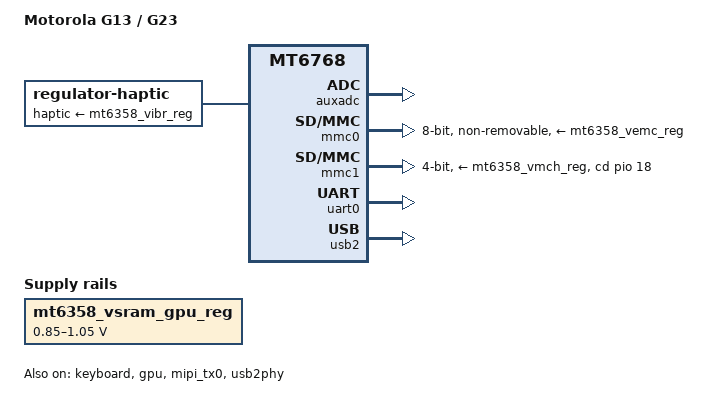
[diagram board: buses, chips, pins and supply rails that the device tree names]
// SPDX-License-Identifier: GPL-2.0-only
/*
 * Device Tree Source for Motorola G13 / G23
 *
 * Copyright (c) 2025 Roger Ortiz
 */

/dts-v1/;

#include <dt-bindings/gpio/gpio.h>
#include <dt-bindings/leds/common.h>
#include <dt-bindings/iio/adc/mediatek,mt6370_adc.h>
#include <dt-bindings/usb/pd.h>

#include "mt6769z.dtsi"
#include "mt6358.dtsi"

/ {
	model = "Motorola G13 / G23";
	compatible = "motorola,penangf", "mediatek,mt6769z", "mediatek,mt6768";

	aliases {
		serial0 = &uart0;
	};

	chosen {
		#address-cells = <2>;
		#size-cells = <2>;
		ranges;

		/*
		 * Framebuffer left running by the bootloader. This is the default
		 * display path: taking the pipeline over with the DSI panel driver
		 * (see mt6769z-motorola-penangf-dsi.dts) does not come up reliably yet.
		 */
		framebuffer0: framebuffer@7b250000 {
			compatible = "simple-framebuffer";
			reg = <0 0x7b250000 0 (736*1600*4)>;
			width = <736>;
			height = <1600>;
			stride = <(736 * 4)>;
			format = "a8r8g8b8";
		};
	};

	/*
	 * No reserved-memory nodes here: the stock bootloader reserves the
	 * framebuffer and pstore regions itself and hangs on purpose if the
	 * device tree already has a node overlapping one of them. ramoops gets
	 * its region from the ramoops.* parameters on the command line instead.
	 */

	/* Downstream: "mediatek,vibrator" with vib_vol = <9>, i.e. VIBR at 2.8 V */
	haptic {
		compatible = "regulator-haptic";
		haptic-supply = <&mt6358_vibr_reg>;
		min-microvolt = <1200000>;
		max-microvolt = <2800000>;
	};
};

/*
 * Volume down. Only KPCOL0 is wired; GPIO92 (KPROW0) is the touch reset here.
 * The controller reports the key as hardware key 1 (the vendor map agrees),
 * which the driver decodes as row 0, column 1.
 */
&keyboard {
	status = "okay";
	pinctrl-names = "default";
	pinctrl-0 = <&keyboard_pins>;
	linux,keymap = <MATRIX_KEY(0x00, 0x01, KEY_VOLUMEDOWN)>;
	keypad,num-rows = <1>;
	keypad,num-columns = <2>;
	debounce-delay-ms = <32>;
};

/* Power is the default; the PMIC "home" key is volume up on this board. */
&mt6358keys {
	home {
		linux,keycodes = <KEY_VOLUMEUP>;
	};
};

&auxadc {
	status = "okay";
};

&thermal {
	status = "okay";
};

&mt6358_vdram2_reg {
	regulator-always-on;
};

/* mt6358_vaud28_reg - audio */
/* mt6358_vbif28_reg - bluetooth? */

&mt6358_vio28_reg {
	regulator-always-on;
};

// I guess
&mt6358_vaux18_reg {
	regulator-always-on;
};

/*
 * No PSCI idle states. Both cpu-sleep and cluster-sleep are MCDI states that
 * the firmware expects to coordinate with a kernel-side MCDI driver; without
 * one, entering either makes USB transfers stall intermittently (the gadget
 * waits forever for a completion, the host times out after 30 s and resets
 * the device) and once produced a context-tracking WARN on idle entry.
 * WFI only is stable.
 */
&cci {
	proc-supply = <&mt6358_vproc12_reg>;
};

&cpu0 {
	/delete-property/ cpu-idle-states;
	proc-supply = <&mt6358_vproc12_reg>;
};

&cpu1 {
	/delete-property/ cpu-idle-states;
	proc-supply = <&mt6358_vproc12_reg>;
};

&cpu2 {
	/delete-property/ cpu-idle-states;
	proc-supply = <&mt6358_vproc12_reg>;
};

&cpu3 {
	/delete-property/ cpu-idle-states;
	proc-supply = <&mt6358_vproc12_reg>;
};

&cpu4 {
	/delete-property/ cpu-idle-states;
	proc-supply = <&mt6358_vproc12_reg>;
};

&cpu5 {
	/delete-property/ cpu-idle-states;
	proc-supply = <&mt6358_vproc12_reg>;
};

&cpu6 {
	/delete-property/ cpu-idle-states;
	proc-supply = <&mt6358_vproc11_reg>;
};

&cpu7 {
	/delete-property/ cpu-idle-states;
	proc-supply = <&mt6358_vproc11_reg>;
};

// For some reason devapc (and others?) make the kernel hang
// at random places and prevents it from booting at all.

/*
 * penangf shipped with four panels (BOE TD4160, Chipone ICNL9916, Ilitek
 * ILI9883A and ILI7807S); the bootloader reports the fitted one in
 * /chosen "atag,videolfb". This describes the BOE TD4160 one; its bias
 * supplies are wired up in mt6769z-motorola-penangf-dsi.dts.
 */
&dsi0 {
	status = "disabled";
	#address-cells = <1>;
	#size-cells = <0>;

	panel: panel@0 {
		compatible = "boe,td4160";
		reg = <0>;
		reset-gpios = <&pio 45 GPIO_ACTIVE_LOW>;

		port {
			panel_in: endpoint {
				remote-endpoint = <&dsi_out>;
			};
		};
	};
};

&dsi_out {
	remote-endpoint = <&panel_in>;
};

/*
 * The OVL keeps reading the bootloader framebuffer by physical address, so
 * with the M4U enabled every read is an IOMMU fault (an interrupt storm).
 */
&iommu {
	status = "disabled";
};

&gpu {
	status = "okay";
	mali-supply = <&mt6358_vgpu_reg>;
};

&mt6358_vgpu_reg {
	regulator-max-microvolt = <950000>;
	regulator-always-on;
	regulator-boot-on;

	regulator-coupled-with = <&mt6358_vsram_gpu_reg>;
	regulator-coupled-max-spread = <100000>;
};

&mt6358_vsram_gpu_reg {
	regulator-min-microvolt = <850000>;
	regulator-max-microvolt = <1050000>;
	regulator-always-on;
	regulator-boot-on;

	regulator-coupled-with = <&mt6358_vgpu_reg>;
	regulator-coupled-max-spread = <100000>;
};

&mipi_tx0 {
	status = "okay";
};

&mmc0 {
	status = "okay";
	pinctrl-names = "default", "state_uhs";
	pinctrl-0 = <&mmc0_default_pins>;
	pinctrl-1 = <&mmc0_uhs_pins>;
	bus-width = <8>;
	max-frequency = <200000000>;
	cap-mmc-highspeed;
	mmc-ddr-1_8v;
	mmc-hs200-1_8v;
	mmc-hs400-1_8v;
	cap-mmc-hw-reset;
	no-sdio;
	no-sd;
	non-removable;
	supports-cqe;
	hs400-ds-delay = <0x12814>;
	vmmc-supply = <&mt6358_vemc_reg>;
	vqmmc-supply = <&mt6358_vio18_reg>;
};

&mmc1 {
	status = "okay";
	pinctrl-names = "default", "state_uhs";
	pinctrl-0 = <&mmc1_default_pins>;
	pinctrl-1 = <&mmc1_uhs_pins>;
	bus-width = <4>;
	max-frequency = <200000000>;
	cap-sd-highspeed;
	sd-uhs-sdr12;
	sd-uhs-sdr25;
	sd-uhs-sdr50;
	sd-uhs-sdr104;
	sd-uhs-ddr50;
	no-mmc;
	no-sdio;
	cd-gpios = <&pio 18 GPIO_ACTIVE_HIGH>;
	vmmc-supply = <&mt6358_vmch_reg>;
	vqmmc-supply = <&mt6358_vmc_reg>;
};

&pio {
	keyboard_pins: keyboard-pins {
		pins {
			pinmux = <PINMUX_GPIO93__FUNC_KPCOL0>;
			bias-pull-up = <MTK_PUPD_SET_R1R0_10>;
			input-enable;
		};
	};

	mmc0_default_pins: mmc0-default-pins {
		pins-clk {
			pinmux = <PINMUX_GPIO124__FUNC_MSDC0_CLK>;
			drive-strength = <MTK_DRIVE_4mA>;
			bias-pull-down = <MTK_PUPD_SET_R1R0_10>;
		};

		pins-cmd-dat {
			pinmux = <PINMUX_GPIO123__FUNC_MSDC0_DAT0>,
				 <PINMUX_GPIO128__FUNC_MSDC0_DAT1>,
				 <PINMUX_GPIO125__FUNC_MSDC0_DAT2>,
				 <PINMUX_GPIO132__FUNC_MSDC0_DAT3>,
				 <PINMUX_GPIO126__FUNC_MSDC0_DAT4>,
				 <PINMUX_GPIO129__FUNC_MSDC0_DAT5>,
				 <PINMUX_GPIO127__FUNC_MSDC0_DAT6>,
				 <PINMUX_GPIO130__FUNC_MSDC0_DAT7>,
				 <PINMUX_GPIO122__FUNC_MSDC0_CMD>;
			input-enable;
			drive-strength = <MTK_DRIVE_4mA>;
			bias-pull-up = <MTK_PUPD_SET_R1R0_01>;
		};

		pins-ds {
			pinmux = <PINMUX_GPIO131__FUNC_MSDC0_DSL>;
			drive-strength = <MTK_DRIVE_4mA>;
		};

		pins-rst {
			pinmux = <PINMUX_GPIO133__FUNC_MSDC0_RSTB>;
			drive-strength = <MTK_DRIVE_6mA>;
			bias-pull-up = <MTK_PUPD_SET_R1R0_01>;
		};
	};

	mmc0_uhs_pins: mmc0-uhs-pins {
		pins-clk {
			pinmux = <PINMUX_GPIO124__FUNC_MSDC0_CLK>;
			drive-strength = <MTK_DRIVE_8mA>;
			bias-pull-down = <MTK_PUPD_SET_R1R0_10>;
		};

		pins-cmd-dat {
			pinmux = <PINMUX_GPIO123__FUNC_MSDC0_DAT0>,
				 <PINMUX_GPIO122__FUNC_MSDC0_CMD>;
			input-enable;
			drive-strength = <MTK_DRIVE_8mA>;
			bias-pull-up = <MTK_PUPD_SET_R1R0_01>;
		};

		pins-ds {
			pinmux = <PINMUX_GPIO131__FUNC_MSDC0_DSL>;
			drive-strength = <MTK_DRIVE_8mA>;
			bias-pull-down = <MTK_PUPD_SET_R1R0_10>;
		};

		pins-rst {
			pinmux = <PINMUX_GPIO133__FUNC_MSDC0_RSTB>;
			drive-strength = <MTK_DRIVE_8mA>;
			bias-pull-up = <MTK_PUPD_SET_R1R0_01>;
		};
	};

	mmc1_default_pins: mmc1-default-pins {
		pins-cmd-dat {
			pinmux = <PINMUX_GPIO164__FUNC_MSDC1_DAT0>,
				 <PINMUX_GPIO163__FUNC_MSDC1_DAT1>,
				 <PINMUX_GPIO162__FUNC_MSDC1_DAT2>,
				 <PINMUX_GPIO161__FUNC_MSDC1_DAT3>,
				 <PINMUX_GPIO170__FUNC_MSDC1_CMD>;
			input-enable;
			drive-strength = <MTK_DRIVE_4mA>;
			bias-pull-up = <MTK_PUPD_SET_R1R0_01>;
		};

		pins-clk {
			pinmux = <PINMUX_GPIO171__FUNC_MSDC1_CLK>;
			drive-strength = <MTK_DRIVE_4mA>;
			bias-pull-down = <MTK_PUPD_SET_R1R0_10>;
		};

		pins-insert {
			pinmux = <PINMUX_GPIO18__FUNC_GPIO18>;
			bias-pull-up;
		};
	};

	mmc1_uhs_pins: mmc1-uhs-pins {
		pins-cmd-dat {
			pinmux = <PINMUX_GPIO164__FUNC_MSDC1_DAT0>,
				 <PINMUX_GPIO163__FUNC_MSDC1_DAT1>,
				 <PINMUX_GPIO162__FUNC_MSDC1_DAT2>,
				 <PINMUX_GPIO161__FUNC_MSDC1_DAT3>,
				 <PINMUX_GPIO170__FUNC_MSDC1_CMD>;
			input-enable;
			drive-strength = <MTK_DRIVE_4mA>;
			bias-pull-up = <MTK_PUPD_SET_R1R0_01>;
		};

		pins-clk {
			pinmux = <PINMUX_GPIO171__FUNC_MSDC1_CLK>;
			drive-strength = <MTK_DRIVE_4mA>;
		};
	};
};

&pmic {
	interrupts-extended = <&pio 144 IRQ_TYPE_LEVEL_HIGH>;
};

/* Serial */
&uart0 {
	status = "okay";
};

/* USB */
&usb2 {
	status = "okay";
};

&usb2phy {
	status = "okay";
};
